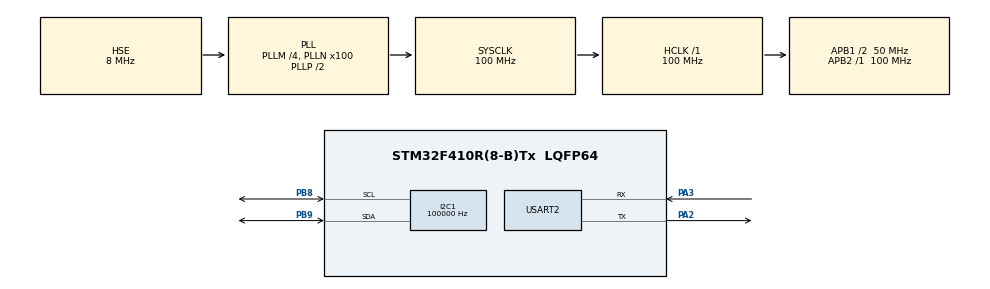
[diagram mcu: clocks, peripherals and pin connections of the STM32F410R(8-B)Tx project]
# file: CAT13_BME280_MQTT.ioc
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Mcu.Family=STM32F4
Mcu.Name=STM32F410R(8-B)Tx
Mcu.Package=LQFP64
NVIC.PriorityGroup=NVIC_PRIORITYGROUP_4
PA13.Mode=Serial_Wire
PA13.Signal=SYS_JTMS-SWDIO
PA14.Mode=Serial_Wire
PA14.Signal=SYS_JTCK-SWCLK
PH0\ -\ OSC_IN.Mode=HSE-External-Clock-Source
PH0\ -\ OSC_IN.Signal=RCC_OSC_IN
PH1\ -\ OSC_OUT.Mode=HSE-External-Clock-Source
PH1\ -\ OSC_OUT.Signal=RCC_OSC_OUT
ProjectManager.HeapSize=0x200
ProjectManager.StackSize=0x400
ProjectManager.TargetToolchain=MDK-ARM V5.32
RCC.48MHZClocksFreq_Value=50000000
RCC.AHBFreq_Value=100000000
RCC.APB1CLKDivider=RCC_HCLK_DIV2
RCC.APB1Freq_Value=50000000
RCC.APB1TimFreq_Value=100000000
RCC.APB2Freq_Value=100000000
RCC.APB2TimFreq_Value=100000000
RCC.CortexFreq_Value=100000000
RCC.HCLKFreq_Value=100000000
RCC.HSE_VALUE=8000000
RCC.HSI_VALUE=16000000
RCC.LSE_VALUE=32768
RCC.PLLM=4
RCC.PLLN=100
RCC.PLLSourceVirtual=RCC_PLLSOURCE_HSE
RCC.SYSCLKFreq_VALUE=100000000
RCC.SYSCLKSource=RCC_SYSCLKSOURCE_PLLCLK
RCC.VCOOutputFreq_Value=200000000
I2C1.ClockSpeed=100000
I2C1.Mode=I2C
I2C1.VirtualMode=I2C
USART2.VirtualMode=VM_ASYNC
board=custom
PB8.Mode=I2C
PB8.Signal=I2C1_SCL
PB9.Mode=I2C
PB9.Signal=I2C1_SDA
PA2.Mode=Asynchronous
PA2.Signal=USART2_TX
PA3.Mode=Asynchronous
PA3.Signal=USART2_RX

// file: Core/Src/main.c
/* USER CODE BEGIN Header */
/**
  ******************************************************************************
  * @file           : main.c
  * @brief          : CAT13 - BME280 sensor interfacing using I2C and MQTT.
  ******************************************************************************
  */
/* USER CODE END Header */

#include "main.h"
#include "ESPLib.h"
#include "bme280.h"
#include <stdio.h>
#include <string.h>
#include <stdint.h>

I2C_HandleTypeDef hi2c1;
UART_HandleTypeDef huart2;

#define BME280_I2C_ADDR       (0x76U << 1) /* Change to (0x77U << 1) if SDO is HIGH */
#define MQTT_TOPIC            "stm32/bme280"
#define MQTT_PUBLISH_PERIOD   1000U

/* Replace these placeholders with your own Wi-Fi credentials before flashing. */
#define WIFI_SSID             "YOUR_WIFI_SSID"
#define WIFI_PASSWORD         "YOUR_WIFI_PASSWORD"

static struct bme280_dev bme280;
static struct bme280_settings bme280_settings;

void SystemClock_Config(void);
static void MX_GPIO_Init(void);
static void MX_I2C1_Init(void);
static void MX_USART2_UART_Init(void);

static BME280_INTF_RET_TYPE BME280_I2C_Read(uint8_t reg_addr,
                                            uint8_t *reg_data,
                                            uint32_t len,
                                            void *intf_ptr);
static BME280_INTF_RET_TYPE BME280_I2C_Write(uint8_t reg_addr,
                                             const uint8_t *reg_data,
                                             uint32_t len,
                                             void *intf_ptr);
static void BME280_Delay_us(uint32_t period, void *intf_ptr);
static int8_t BME280_InitSensor(void);
static void Publish_BME280_Data(void);

/* USER CODE BEGIN 0 */

static BME280_INTF_RET_TYPE BME280_I2C_Read(uint8_t reg_addr,
                                            uint8_t *reg_data,
                                            uint32_t len,
                                            void *intf_ptr)
{
    I2C_HandleTypeDef *i2c = (I2C_HandleTypeDef *)intf_ptr;

    if (HAL_I2C_Mem_Read(i2c, BME280_I2C_ADDR, reg_addr,
                         I2C_MEMADD_SIZE_8BIT, reg_data,
                         (uint16_t)len, 100U) == HAL_OK)
    {
        return 0;
    }
    return -1;
}

static BME280_INTF_RET_TYPE BME280_I2C_Write(uint8_t reg_addr,
                                             const uint8_t *reg_data,
                                             uint32_t len,
                                             void *intf_ptr)
{
    I2C_HandleTypeDef *i2c = (I2C_HandleTypeDef *)intf_ptr;
    uint8_t tx_buffer[BME280_MAX_LEN + 1U];

    if ((len > BME280_MAX_LEN) || (len == 0U))
    {
        return -1;
    }

    tx_buffer[0] = reg_addr;
    memcpy(&tx_buffer[1], reg_data, len);

    if (HAL_I2C_Master_Transmit(i2c, BME280_I2C_ADDR,
                                tx_buffer, (uint16_t)(len + 1U),
                                100U) == HAL_OK)
    {
        return 0;
    }
    return -1;
}

static void BME280_Delay_us(uint32_t period, void *intf_ptr)
{
    (void)intf_ptr;
    /* HAL_Delay has millisecond resolution; round up for the Bosch API delay. */
    HAL_Delay((period + 999U) / 1000U);
}

static int8_t BME280_InitSensor(void)
{
    int8_t rslt;

    memset(&bme280, 0, sizeof(bme280));
    bme280.intf = BME280_I2C_INTF;
    bme280.intf_ptr = &hi2c1;
    bme280.read = BME280_I2C_Read;
    bme280.write = BME280_I2C_Write;
    bme280.delay_us = BME280_Delay_us;

    rslt = bme280_init(&bme280);
    if (rslt != BME280_OK)
    {
        return rslt;
    }

    bme280_settings.osr_t = BME280_OVERSAMPLING_2X;
    bme280_settings.osr_p = BME280_OVERSAMPLING_16X;
    bme280_settings.osr_h = BME280_OVERSAMPLING_1X;
    bme280_settings.filter = BME280_FILTER_COEFF_16;
    bme280_settings.standby_time = BME280_STANDBY_TIME_125_MS;

    rslt = bme280_set_sensor_settings(BME280_SEL_ALL_SETTINGS,
                                      &bme280_settings, &bme280);
    if (rslt != BME280_OK)
    {
        return rslt;
    }

    return bme280_set_sensor_mode(BME280_POWERMODE_NORMAL, &bme280);
}

/*
 * Bosch fixed-point output units for this API:
 * temperature = 0.01 deg C; pressure = Q24.8 Pa (64-bit path); humidity = 1/1024 %RH.
 * Format values as JSON without requiring printf floating-point support.
 */
static void Publish_BME280_Data(void)
{
    struct bme280_data sensor_data;
    char json_payload[80];
    uint32_t humidity_x100;
    uint32_t pressure_hpa_x100;
    int32_t temperature;
    uint32_t temperature_abs;
    int payload_len;

    if (bme280_get_sensor_data(BME280_ALL, &sensor_data, &bme280) != BME280_OK)
    {
        return;
    }

    temperature = sensor_data.temperature;
    temperature_abs = (temperature < 0) ? (uint32_t)(-temperature) : (uint32_t)temperature;
    humidity_x100 = (sensor_data.humidity * 100U + 512U) / 1024U;
    pressure_hpa_x100 = (sensor_data.pressure + 128U) / 256U; /* Q24.8 Pa -> hPa x 100 */

    if (temperature < 0)
    {
        payload_len = snprintf(json_payload, sizeof(json_payload),
            "{\"status\":\"success\",\"temperature\":-%lu.%02lu,"
            "\"humidity\":%lu.%02lu,\"pressure\":%lu.%02lu}",
            (unsigned long)(temperature_abs / 100U),
            (unsigned long)(temperature_abs % 100U),
            (unsigned long)(humidity_x100 / 100U),
            (unsigned long)(humidity_x100 % 100U),
            (unsigned long)(pressure_hpa_x100 / 100U),
            (unsigned long)(pressure_hpa_x100 % 100U));
    }
    else
    {
        payload_len = snprintf(json_payload, sizeof(json_payload),
            "{\"status\":\"success\",\"temperature\":%lu.%02lu,"
            "\"humidity\":%lu.%02lu,\"pressure\":%lu.%02lu}",
            (unsigned long)(temperature_abs / 100U),
            (unsigned long)(temperature_abs % 100U),
            (unsigned long)(humidity_x100 / 100U),
            (unsigned long)(humidity_x100 % 100U),
            (unsigned long)(pressure_hpa_x100 / 100U),
            (unsigned long)(pressure_hpa_x100 % 100U));
    }

    if ((payload_len > 0) && (payload_len < (int)sizeof(json_payload)))
    {
        MQTT_publishTopic(MQTT_TOPIC, json_payload, QoS0);
    }
}

/* USER CODE END 0 */

int main(void)
{
    uint32_t last_publish_time = 0U;
    MQTT_InitTypeDef_t mqttSetting;

    HAL_Init();
    SystemClock_Config();

    MX_GPIO_Init();
    MX_I2C1_Init();
    MX_USART2_UART_Init();

    /* Initialize and configure the BME280 over I2C. */
    if (BME280_InitSensor() != BME280_OK)
    {
        Error_Handler();
    }

    /* ESP8266 AT-command setup on USART2, as specified in the CAT13 sheet. */
    if (ESP8266_Init(StationMode, huart2) != funcOk)
    {
        Error_Handler();
    }

    if (ESP8266_wifiConnect(WIFI_SSID, WIFI_PASSWORD) != funcOk)
    {
        Error_Handler();
    }

    /* Connect to the public EMQX MQTT broker (unencrypted MQTT, port 1883). */
    if (ESP8266_portConnect("TCP", "broker.emqx.io", "1883") != funcOk)
    {
        Error_Handler();
    }

    memset(&mqttSetting, 0, sizeof(mqttSetting));
    mqttSetting.keepAlive = 500U;
    mqttSetting.connectFlag = CleanSession;
    mqttSetting.clientID = "STM32_BME280_CAT13";
    MQTT_connectBroker(&mqttSetting);

    while (1)
    {
        if ((HAL_GetTick() - last_publish_time) >= MQTT_PUBLISH_PERIOD)
        {
            last_publish_time = HAL_GetTick();
            Publish_BME280_Data();
        }
    }
}

static void MX_I2C1_Init(void)
{
    hi2c1.Instance = I2C1;
    hi2c1.Init.ClockSpeed = 100000U;
    hi2c1.Init.DutyCycle = I2C_DUTYCYCLE_2;
    hi2c1.Init.OwnAddress1 = 0U;
    hi2c1.Init.AddressingMode = I2C_ADDRESSINGMODE_7BIT;
    hi2c1.Init.DualAddressMode = I2C_DUALADDRESS_DISABLE;
    hi2c1.Init.OwnAddress2 = 0U;
    hi2c1.Init.GeneralCallMode = I2C_GENERALCALL_DISABLE;
    hi2c1.Init.NoStretchMode = I2C_NOSTRETCH_DISABLE;

    if (HAL_I2C_Init(&hi2c1) != HAL_OK)
    {
        Error_Handler();
    }
}

static void MX_USART2_UART_Init(void)
{
    huart2.Instance = USART2;
    huart2.Init.BaudRate = 115200U;
    huart2.Init.WordLength = UART_WORDLENGTH_8B;
    huart2.Init.StopBits = UART_STOPBITS_1;
    huart2.Init.Parity = UART_PARITY_NONE;
    huart2.Init.Mode = UART_MODE_TX_RX;
    huart2.Init.HwFlowCtl = UART_HWCONTROL_NONE;
    huart2.Init.OverSampling = UART_OVERSAMPLING_16;

    if (HAL_UART_Init(&huart2) != HAL_OK)
    {
        Error_Handler();
    }
}

static void MX_GPIO_Init(void)
{
    __HAL_RCC_GPIOH_CLK_ENABLE();
    __HAL_RCC_GPIOA_CLK_ENABLE();
    __HAL_RCC_GPIOB_CLK_ENABLE();
}

/* Original system clock configuration retained from the supplied project. */

void SystemClock_Config(void)
{
  RCC_OscInitTypeDef RCC_OscInitStruct = {0};
  RCC_ClkInitTypeDef RCC_ClkInitStruct = {0};

  /** Configure the main internal regulator output voltage
  */
  __HAL_RCC_PWR_CLK_ENABLE();
  __HAL_PWR_VOLTAGESCALING_CONFIG(PWR_REGULATOR_VOLTAGE_SCALE1);

  /** Initializes the RCC Oscillators according to the specified parameters
  * in the RCC_OscInitTypeDef structure.
  */
  RCC_OscInitStruct.OscillatorType = RCC_OSCILLATORTYPE_HSE;
  RCC_OscInitStruct.HSEState = RCC_HSE_BYPASS;
  RCC_OscInitStruct.PLL.PLLState = RCC_PLL_ON;
  RCC_OscInitStruct.PLL.PLLSource = RCC_PLLSOURCE_HSE;
  RCC_OscInitStruct.PLL.PLLM = 4;
  RCC_OscInitStruct.PLL.PLLN = 100;
  RCC_OscInitStruct.PLL.PLLP = RCC_PLLP_DIV2;
  RCC_OscInitStruct.PLL.PLLQ = 4;
  RCC_OscInitStruct.PLL.PLLR = 2;
  if (HAL_RCC_OscConfig(&RCC_OscInitStruct) != HAL_OK)
  {
    Error_Handler();
  }

  /** Initializes the CPU, AHB and APB buses clocks
  */
  RCC_ClkInitStruct.ClockType = RCC_CLOCKTYPE_HCLK|RCC_CLOCKTYPE_SYSCLK
                              |RCC_CLOCKTYPE_PCLK1|RCC_CLOCKTYPE_PCLK2;
  RCC_ClkInitStruct.SYSCLKSource = RCC_SYSCLKSOURCE_PLLCLK;
  RCC_ClkInitStruct.AHBCLKDivider = RCC_SYSCLK_DIV1;
  RCC_ClkInitStruct.APB1CLKDivider = RCC_HCLK_DIV2;
  RCC_ClkInitStruct.APB2CLKDivider = RCC_HCLK_DIV1;

  if (HAL_RCC_ClockConfig(&RCC_ClkInitStruct, FLASH_LATENCY_3) != HAL_OK)
  {
    Error_Handler();
  }
}

void Error_Handler(void)
{
  __disable_irq();
  while (1)
  {
  }
}
